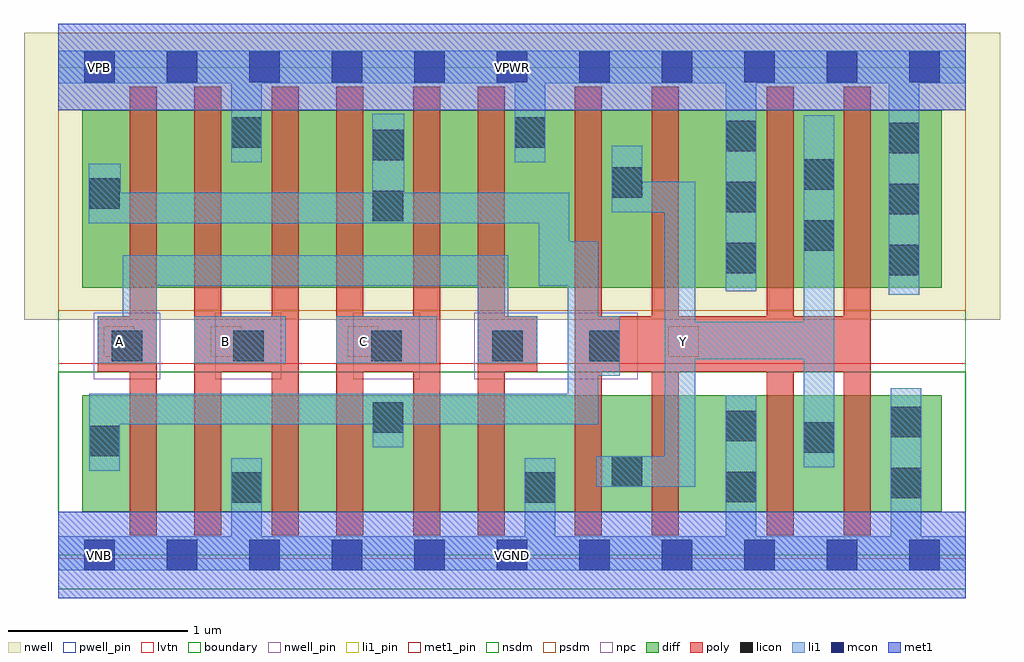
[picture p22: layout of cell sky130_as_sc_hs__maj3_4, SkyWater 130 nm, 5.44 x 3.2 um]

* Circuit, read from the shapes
.subckt sky130_as_sc_hs__maj3_4 A B C VGND VNB VPB VPWR Y
XM1 n1 A n2 VNB sky130_fd_pr__nfet_01v8_lvt w=0.65 l=0.15
XM2 VGND B n1 VNB sky130_fd_pr__nfet_01v8_lvt w=0.65 l=0.15
XM3 n3 B VGND VNB sky130_fd_pr__nfet_01v8_lvt w=0.65 l=0.15
XM4 n2 C n3 VNB sky130_fd_pr__nfet_01v8_lvt w=0.65 l=0.15
XM5 n4 C n2 VNB sky130_fd_pr__nfet_01v8_lvt w=0.65 l=0.15
XM6 VGND A n4 VNB sky130_fd_pr__nfet_01v8_lvt w=0.65 l=0.15
XM7 Y n2 VGND VNB sky130_fd_pr__nfet_01v8_lvt w=0.65 l=0.15 m=4
XM8 n5 A n2 VPB sky130_fd_pr__pfet_01v8 w=0.99 l=0.15
XM9 VPWR B n5 VPB sky130_fd_pr__pfet_01v8 w=0.99 l=0.15
XM10 n6 B VPWR VPB sky130_fd_pr__pfet_01v8 w=0.99 l=0.15
XM11 n2 C n6 VPB sky130_fd_pr__pfet_01v8 w=0.99 l=0.15
XM12 n7 C n2 VPB sky130_fd_pr__pfet_01v8 w=0.99 l=0.15
XM13 VPWR A n7 VPB sky130_fd_pr__pfet_01v8 w=0.99 l=0.15
XM14 Y n2 VPWR VPB sky130_fd_pr__pfet_01v8 w=0.99 l=0.15 m=4
.ends

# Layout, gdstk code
import gdstk
lib = gdstk.Library(unit=1e-6, precision=1e-09)
def R(c, l, rs):  # rectangles x0, y0, x1, y1
    for r in rs: c.add(gdstk.rectangle(r[:2], r[2:], *l))
def A(c, l, x, y, w, h, nx, ny, dx, dy):  # array of equal rectangles
    R(c, l, [(x+i*dx, y+j*dy, x+i*dx+w, y+j*dy+h) for i in range(nx) for j in range(ny)])
nwell_pin = (64, 16)
nwell = (64, 20)
diff = (65, 20)
poly = (66, 20)
licon = (66, 44)
li1_pin = (67, 16)
li1 = (67, 20)
mcon = (67, 44)
met1_pin = (68, 16)
met1 = (68, 20)
nsdm = (93, 44)
psdm = (94, 20)
npc = (95, 20)
pwell_pin = (122, 16)
lvtn = (125, 44)
boundary = (235, 4)

sky130_as_sc_hs__maj3_4 = lib.new_cell('sky130_as_sc_hs__maj3_4')
R(sky130_as_sc_hs__maj3_4, nwell_pin, [(0.145,2.635,0.315,2.805)])
R(sky130_as_sc_hs__maj3_4, nwell, [(-0.19,1.31,5.25,2.91)])
R(sky130_as_sc_hs__maj3_4, diff, [(0.135,0.24,4.925,0.89), (0.135,1.49,4.925,2.48)])
R(sky130_as_sc_hs__maj3_4, poly, [(0.4,0.11,0.55,1.02), (0.76,0.11,0.91,1.02), (1.19,0.11,1.34,1.02), (1.55,0.11,1.7,1.02), (1.98,0.11,2.13,1.02), (2.34,0.11,2.49,1.02), (2.88,0.11,3.03,1.02), (3.31,0.11,3.46,1.02), (3.95,0.11,4.1,1.02), (4.38,0.11,4.53,1.02), (0.22,1.02,0.55,1.33), (0.76,1.02,1.34,1.33), (1.55,1.02,2.13,1.33), (2.34,1.02,2.67,1.33), (2.88,1.02,4.53,1.33), (0.4,1.33,0.55,2.61), (0.76,1.33,0.91,2.61), (1.19,1.33,1.34,2.61), (1.55,1.33,1.7,2.61), (1.98,1.33,2.13,2.61), (2.34,1.33,2.49,2.61), (2.88,1.33,3.03,2.61), (3.31,1.33,3.46,2.61), (3.95,1.33,4.1,2.61), (4.38,1.33,4.53,2.61)])
A(sky130_as_sc_hs__maj3_4, licon, 4.63, 1.56, 0.17, 0.17, 1, 3, 0, 0.34)
A(sky130_as_sc_hs__maj3_4, licon, 3.72, 1.57, 0.17, 0.17, 1, 3, 0, 0.34)
R(sky130_as_sc_hs__maj3_4, licon, [(0.965,0.29,1.135,0.46), (2.6,0.29,2.77,0.46), (3.72,0.295,3.89,0.465), (4.64,0.315,4.81,0.485), (3.085,0.38,3.255,0.55), (0.175,0.55,0.345,0.72), (4.155,0.57,4.325,0.74), (3.72,0.635,3.89,0.805), (4.64,0.655,4.81,0.825), (1.755,0.68,1.925,0.85), (0.3,1.08,0.47,1.25), (0.975,1.08,1.145,1.25), (1.745,1.08,1.915,1.25), (2.42,1.08,2.59,1.25), (2.96,1.08,3.13,1.25), (4.155,1.695,4.325,1.865), (1.755,1.86,1.925,2.03), (0.175,1.93,0.345,2.1), (3.085,1.99,3.255,2.16), (4.155,2.035,4.325,2.205), (1.755,2.2,1.925,2.37), (0.965,2.27,1.135,2.44), (2.545,2.27,2.715,2.44)])
R(sky130_as_sc_hs__maj3_4, li1_pin, [(0.255,1.105,0.425,1.275), (0.85,1.105,1.02,1.275), (1.615,1.105,1.785,1.275), (3.4,1.105,3.57,1.275)])
R(sky130_as_sc_hs__maj3_4, li1, [(0,-0.085,5.06,0.105), (0.965,0.105,1.135,0.54), (2.6,0.105,2.77,0.54), (3.72,0.105,3.89,0.89), (4.64,0.105,4.81,0.93), (3,0.38,3.55,0.55), (0.175,0.47,0.345,0.73), (4.155,0.49,4.325,1.09), (3.38,0.55,3.55,1.09), (1.755,0.6,1.925,0.73), (0.175,0.73,3.01,0.9), (2.84,0.9,3.01,1), (2.84,1,3.13,1.33), (0.22,1.07,0.55,1.33), (0.76,1.07,1.27,1.33), (1.55,1.07,2.11,1.33), (2.34,1.07,2.67,1.33), (3.38,1.09,4.325,1.3), (3.38,1.3,3.55,1.91), (4.155,1.3,4.325,2.45), (0.36,1.33,0.55,1.5), (2.34,1.33,2.51,1.5), (2.84,1.33,3.01,1.5), (4.63,1.45,4.8,2.63), (3.72,1.47,3.89,2.63), (0.36,1.5,2.51,1.67), (2.68,1.5,3.01,1.75), (2.68,1.75,2.85,1.85), (0.17,1.85,2.85,2.02), (3.085,1.91,3.55,2.08), (0.17,2.02,0.35,2.18), (1.75,2.02,1.93,2.46), (3.085,2.08,3.255,2.28), (0.965,2.19,1.135,2.63), (2.545,2.19,2.715,2.63), (0,2.63,5.06,2.81)])
A(sky130_as_sc_hs__maj3_4, mcon, 0.145, -0.085, 0.17, 0.17, 11, 2, 0.46, 2.72)
R(sky130_as_sc_hs__maj3_4, met1_pin, [(0,-0.24,5.06,0.24), (0.145,-0.085,0.315,0.085), (0,2.48,5.06,2.96), (0.145,2.635,0.315,2.805)])
R(sky130_as_sc_hs__maj3_4, met1, [(0,-0.24,5.06,0.24), (0,2.48,5.06,2.96)])
R(sky130_as_sc_hs__maj3_4, nsdm, [(0,-0.19,5.06,1.02)])
R(sky130_as_sc_hs__maj3_4, psdm, [(0,1.36,5.06,2.91)])
R(sky130_as_sc_hs__maj3_4, npc, [(0.2,0.98,0.57,1.35), (0.875,0.98,1.245,1.35), (1.645,0.98,2.015,1.35), (2.32,0.98,3.23,1.35)])
R(sky130_as_sc_hs__maj3_4, pwell_pin, [(0.145,-0.085,0.315,0.085)])
R(sky130_as_sc_hs__maj3_4, lvtn, [(0,-0.02,5.06,1.07)])
R(sky130_as_sc_hs__maj3_4, boundary, [(0,0,5.06,2.72)])
sky130_as_sc_hs__maj3_4.add(gdstk.Label('VNB', (0.23,0), layer=64, texttype=59))
sky130_as_sc_hs__maj3_4.add(gdstk.Label('VNB', (0.23,0), layer=64, texttype=59))
sky130_as_sc_hs__maj3_4.add(gdstk.Label('VPB', (0.23,2.72), layer=64, texttype=5))
sky130_as_sc_hs__maj3_4.add(gdstk.Label('VPB', (0.23,2.72), layer=64, texttype=5))
sky130_as_sc_hs__maj3_4.add(gdstk.Label('B', (0.935,1.19), layer=67, texttype=5))
sky130_as_sc_hs__maj3_4.add(gdstk.Label('A', (0.34,1.19), layer=67, texttype=5))
sky130_as_sc_hs__maj3_4.add(gdstk.Label('C', (1.7,1.19), layer=67, texttype=5))
sky130_as_sc_hs__maj3_4.add(gdstk.Label('Y', (3.485,1.19), layer=67, texttype=5))
sky130_as_sc_hs__maj3_4.add(gdstk.Label('B', (0.935,1.19), layer=67, texttype=5))
sky130_as_sc_hs__maj3_4.add(gdstk.Label('A', (0.34,1.19), layer=67, texttype=5))
sky130_as_sc_hs__maj3_4.add(gdstk.Label('C', (1.7,1.19), layer=67, texttype=5))
sky130_as_sc_hs__maj3_4.add(gdstk.Label('Y', (3.485,1.19), layer=67, texttype=5))
sky130_as_sc_hs__maj3_4.add(gdstk.Label('VPWR', (2.53,2.72), layer=68, texttype=5))
sky130_as_sc_hs__maj3_4.add(gdstk.Label('VPWR', (0.23,2.72), layer=68, texttype=5))
sky130_as_sc_hs__maj3_4.add(gdstk.Label('VGND', (2.53,0), layer=68, texttype=5))
sky130_as_sc_hs__maj3_4.add(gdstk.Label('VGND', (0.23,0), layer=68, texttype=5))

lib.write_gds('sky130_as_sc_hs__maj3_4.gds')
